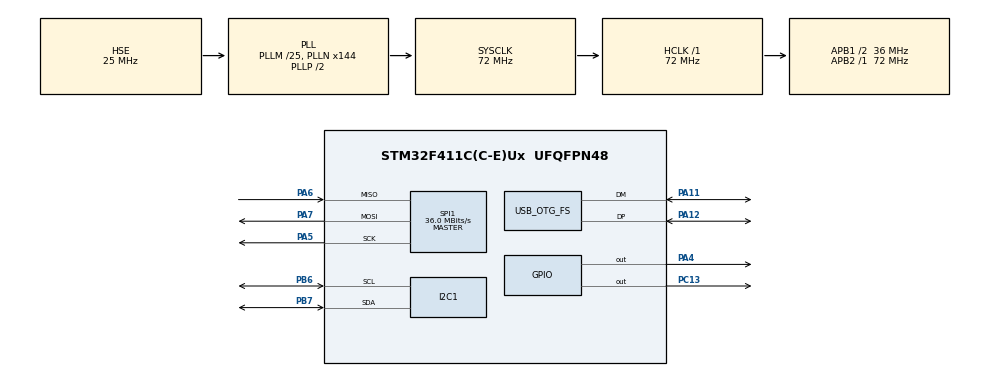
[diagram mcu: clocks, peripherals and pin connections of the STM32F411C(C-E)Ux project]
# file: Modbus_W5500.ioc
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Mcu.Family=STM32F4
Mcu.Name=STM32F411C(C-E)Ux
Mcu.Package=UFQFPN48
NVIC.OTG_FS_IRQn=true\:0\:0\:false\:false\:true\:false\:true\:true
NVIC.PriorityGroup=NVIC_PRIORITYGROUP_4
PA11.Mode=Device_Only
PA11.Signal=USB_OTG_FS_DM
PA12.Mode=Device_Only
PA12.Signal=USB_OTG_FS_DP
PA4.Signal=GPIO_Output
PA5.Mode=Full_Duplex_Master
PA5.Signal=SPI1_SCK
PA6.Mode=Full_Duplex_Master
PA6.Signal=SPI1_MISO
PA7.Mode=Full_Duplex_Master
PA7.Signal=SPI1_MOSI
PB6.Mode=I2C
PB6.Signal=I2C1_SCL
PB7.Mode=I2C
PB7.Signal=I2C1_SDA
PC13-ANTI_TAMP.Signal=GPIO_Output
PH0\ -\ OSC_IN.Mode=HSE-External-Oscillator
PH0\ -\ OSC_IN.Signal=RCC_OSC_IN
PH1\ -\ OSC_OUT.Mode=HSE-External-Oscillator
PH1\ -\ OSC_OUT.Signal=RCC_OSC_OUT
ProjectManager.HeapSize=0x200
ProjectManager.StackSize=0x400
ProjectManager.TargetToolchain=STM32CubeIDE
RCC.48MHZClocksFreq_Value=48000000
RCC.AHBFreq_Value=72000000
RCC.APB1CLKDivider=RCC_HCLK_DIV2
RCC.APB1Freq_Value=36000000
RCC.APB1TimFreq_Value=72000000
RCC.APB2Freq_Value=72000000
RCC.APB2TimFreq_Value=72000000
RCC.CortexFreq_Value=72000000
RCC.HCLKFreq_Value=72000000
RCC.HSE_VALUE=25000000
RCC.HSI_VALUE=16000000
RCC.LSE_VALUE=32768
RCC.PLLM=25
RCC.PLLN=144
RCC.PLLQ=3
RCC.SYSCLKFreq_VALUE=72000000
RCC.SYSCLKSource=RCC_SYSCLKSOURCE_PLLCLK
RCC.VCOOutputFreq_Value=144000000
SPI1.CalculateBaudRate=36.0 MBits/s
SPI1.Direction=SPI_DIRECTION_2LINES
SPI1.Mode=SPI_MODE_MASTER
SPI1.VirtualType=VM_MASTER
USB_DEVICE.CLASS_NAME_FS=CDC
USB_DEVICE.VirtualMode=Cdc
USB_DEVICE.VirtualModeFS=Cdc_FS
USB_OTG_FS.VirtualMode=Device_Only
VP_USB_DEVICE_VS_USB_DEVICE_CDC_FS.Mode=CDC_FS
board=custom

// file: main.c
/* USER CODE BEGIN Header */
/**
 ******************************************************************************
 * @file           : main.c
 * @brief          : Main program body
 ******************************************************************************
 * @attention
 *
 * Copyright (c) 2025 STMicroelectronics.
 * All rights reserved.
 *
 * This software is licensed under terms that can be found in the LICENSE file
 * in the root directory of this software component.
 * If no LICENSE file comes with this software, it is provided AS-IS.
 *
 ******************************************************************************
 */
/* USER CODE END Header */
#include "main.h"
#include "usb_device.h"

/* USER CODE BEGIN Includes */
#include "ina260.h"

/* USER CODE END Includes */

/* USER CODE BEGIN PTD */

void print_header(wiz_NetInfo netInfo)
{
	printf(SEPARATOR);
	HAL_Delay(100);
	printf(WELCOME_MSG);
	HAL_Delay(100);
	printf(SEPARATOR);
	HAL_Delay(100);
	printf(IP_MSG, netInfo.ip[0], netInfo.ip[1], netInfo.ip[2], netInfo.ip[3]);
	printf(SEPARATOR);
}

/* USER CODE END PTD */

I2C_HandleTypeDef hi2c1;

SPI_HandleTypeDef hspi1;

void SystemClock_Config(void);
static void MX_GPIO_Init(void);
static void MX_SPI1_Init(void);
static void MX_I2C1_Init(void);

/* USER CODE BEGIN 0 */

int _write(int file, char *ptr, int len)
{
	uint8_t usb_state_1 = 1;
	uint32_t timeout = HAL_GetTick() + 100; // 100 ms timeout
	while(usb_state_1 !=0 && HAL_GetTick() < timeout)
	{
		usb_state_1 = CDC_Transmit_FS((uint8_t*) ptr, len);
	}
	return len;
}

void cs_sel() {
	HAL_GPIO_WritePin(GPIOA, GPIO_PIN_4, GPIO_PIN_RESET); //CS LOW
}

void cs_desel() {
	HAL_GPIO_WritePin(GPIOA, GPIO_PIN_4, GPIO_PIN_SET); //CS HIGH
}

uint8_t spi_rb(void) {
	uint8_t rbuf;
	HAL_SPI_Receive(&hspi1, &rbuf, 1, 0xFFFFFFFF);
	return rbuf;
}

void spi_wb(uint8_t b) {
	HAL_SPI_Transmit(&hspi1, &b, 1, 0xFFFFFFFF);
}

void W5500_init()
{
	uint8_t  bufSize[] = {2, 2, 2, 2};//rcvBuf[20],

	reg_wizchip_cs_cbfunc(cs_sel, cs_desel);
	reg_wizchip_spi_cbfunc(spi_rb, spi_wb);

	wizchip_init(bufSize, bufSize);
	wiz_NetInfo netInfo = { .mac 	= MAC,	// Mac address
//			.dhcp = NETINFO_DHCP};
			.ip 	= SLAVE_IP,					// IP address
			.sn 	= SUBNET,					// Subnet mask
			.gw 	= GATEWAY};					// Gateway address
	wizchip_setnetinfo(&netInfo);
	wizchip_getnetinfo(&netInfo);
	HAL_Delay(500);
	print_header(netInfo);
	HAL_Delay(10);
}

INA260_t sensor;

/* USER CODE END 0 */

int main(void)
{

  /* MCU Configuration--------------------------------------------------------*/

  /* Reset of all peripherals, Initializes the Flash interface and the Systick. */
  HAL_Init();

  /* Configure the system clock */
  SystemClock_Config();

  /* Initialize all configured peripherals */
  MX_GPIO_Init();
  MX_SPI1_Init();
  MX_USB_DEVICE_Init();
  MX_I2C1_Init();
  /* USER CODE BEGIN 2 */
  W5500_init();

  //INA260_Init(&ina, &hi2c1, INA260_I2C_ADDR);
  //INA260_t sensor;
  sensor.hi2c = &hi2c1;
  sensor.address = INA260_ADDRESS_DEFAULT;

  loop_modbus_slave();
  /* USER CODE END 2 */

  /* Infinite loop */
	while (1)
	{

	}
}

void SystemClock_Config(void)
{
  RCC_OscInitTypeDef RCC_OscInitStruct = {0};
  RCC_ClkInitTypeDef RCC_ClkInitStruct = {0};

  /** Configure the main internal regulator output voltage
  */
  __HAL_RCC_PWR_CLK_ENABLE();
  __HAL_PWR_VOLTAGESCALING_CONFIG(PWR_REGULATOR_VOLTAGE_SCALE1);

  /** Initializes the RCC Oscillators according to the specified parameters
  * in the RCC_OscInitTypeDef structure.
  */
  RCC_OscInitStruct.OscillatorType = RCC_OSCILLATORTYPE_HSE;
  RCC_OscInitStruct.HSEState = RCC_HSE_ON;
  RCC_OscInitStruct.PLL.PLLState = RCC_PLL_ON;
  RCC_OscInitStruct.PLL.PLLSource = RCC_PLLSOURCE_HSE;
  RCC_OscInitStruct.PLL.PLLM = 25;
  RCC_OscInitStruct.PLL.PLLN = 144;
  RCC_OscInitStruct.PLL.PLLP = RCC_PLLP_DIV2;
  RCC_OscInitStruct.PLL.PLLQ = 3;
  if (HAL_RCC_OscConfig(&RCC_OscInitStruct) != HAL_OK)
  {
    Error_Handler();
  }

  /** Initializes the CPU, AHB and APB buses clocks
  */
  RCC_ClkInitStruct.ClockType = RCC_CLOCKTYPE_HCLK|RCC_CLOCKTYPE_SYSCLK
                              |RCC_CLOCKTYPE_PCLK1|RCC_CLOCKTYPE_PCLK2;
  RCC_ClkInitStruct.SYSCLKSource = RCC_SYSCLKSOURCE_PLLCLK;
  RCC_ClkInitStruct.AHBCLKDivider = RCC_SYSCLK_DIV1;
  RCC_ClkInitStruct.APB1CLKDivider = RCC_HCLK_DIV2;
  RCC_ClkInitStruct.APB2CLKDivider = RCC_HCLK_DIV1;

  if (HAL_RCC_ClockConfig(&RCC_ClkInitStruct, FLASH_LATENCY_2) != HAL_OK)
  {
    Error_Handler();
  }
}

static void MX_I2C1_Init(void)
{

  hi2c1.Instance = I2C1;
  hi2c1.Init.ClockSpeed = 100000;
  hi2c1.Init.DutyCycle = I2C_DUTYCYCLE_2;
  hi2c1.Init.OwnAddress1 = 0;
  hi2c1.Init.AddressingMode = I2C_ADDRESSINGMODE_7BIT;
  hi2c1.Init.DualAddressMode = I2C_DUALADDRESS_DISABLE;
  hi2c1.Init.OwnAddress2 = 0;
  hi2c1.Init.GeneralCallMode = I2C_GENERALCALL_DISABLE;
  hi2c1.Init.NoStretchMode = I2C_NOSTRETCH_DISABLE;
  if (HAL_I2C_Init(&hi2c1) != HAL_OK)
  {
    Error_Handler();
  }

}

static void MX_SPI1_Init(void)
{

  /* SPI1 parameter configuration*/
  hspi1.Instance = SPI1;
  hspi1.Init.Mode = SPI_MODE_MASTER;
  hspi1.Init.Direction = SPI_DIRECTION_2LINES;
  hspi1.Init.DataSize = SPI_DATASIZE_8BIT;
  hspi1.Init.CLKPolarity = SPI_POLARITY_LOW;
  hspi1.Init.CLKPhase = SPI_PHASE_1EDGE;
  hspi1.Init.NSS = SPI_NSS_SOFT;
  hspi1.Init.BaudRatePrescaler = SPI_BAUDRATEPRESCALER_2;
  hspi1.Init.FirstBit = SPI_FIRSTBIT_MSB;
  hspi1.Init.TIMode = SPI_TIMODE_DISABLE;
  hspi1.Init.CRCCalculation = SPI_CRCCALCULATION_DISABLE;
  hspi1.Init.CRCPolynomial = 10;
  if (HAL_SPI_Init(&hspi1) != HAL_OK)
  {
    Error_Handler();
  }

}

static void MX_GPIO_Init(void)
{
  GPIO_InitTypeDef GPIO_InitStruct = {0};

  /* GPIO Ports Clock Enable */
  __HAL_RCC_GPIOC_CLK_ENABLE();
  __HAL_RCC_GPIOH_CLK_ENABLE();
  __HAL_RCC_GPIOA_CLK_ENABLE();
  __HAL_RCC_GPIOB_CLK_ENABLE();

  /*Configure GPIO pin Output Level */
  HAL_GPIO_WritePin(GPIOC, GPIO_PIN_13, GPIO_PIN_RESET);

  /*Configure GPIO pin Output Level */
  HAL_GPIO_WritePin(GPIOA, GPIO_PIN_4, GPIO_PIN_RESET);

  /*Configure GPIO pin : PC13 */
  GPIO_InitStruct.Pin = GPIO_PIN_13;
  GPIO_InitStruct.Mode = GPIO_MODE_OUTPUT_PP;
  GPIO_InitStruct.Pull = GPIO_NOPULL;
  GPIO_InitStruct.Speed = GPIO_SPEED_FREQ_LOW;
  HAL_GPIO_Init(GPIOC, &GPIO_InitStruct);

  /*Configure GPIO pin : PA4 */
  GPIO_InitStruct.Pin = GPIO_PIN_4;
  GPIO_InitStruct.Mode = GPIO_MODE_OUTPUT_PP;
  GPIO_InitStruct.Pull = GPIO_NOPULL;
  GPIO_InitStruct.Speed = GPIO_SPEED_FREQ_LOW;
  HAL_GPIO_Init(GPIOA, &GPIO_InitStruct);

}

void Error_Handler(void)
{
	__disable_irq();
	while (1)
	{
	}
}
